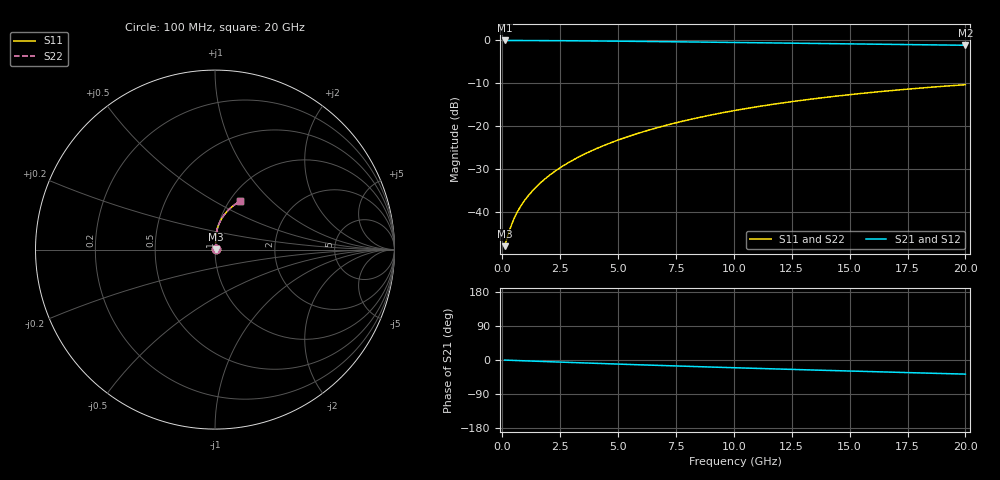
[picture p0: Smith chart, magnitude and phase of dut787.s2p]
! Touchstone file exported from HFSS 2024.1.0
!  File:  C:/UserFiles/LocalFiles/RDL_TSV_Batchsim/temp_RDL_top_787_1779853248.aedt
!  Generated:  11:42:58 AM May 27, 2026
!  Design:  RDL_top
!  Project:  temp_RDL_top_787_1779853248
!  Setup:  Setup1
!  Solution:  Sweep
! Variables:
!  dtsv = 10.80580581um
!  hbump = 3um
!  htsv = 79.98um
!  ldown = 100um
!  lrdl = 542.82um
!  p = 40
!  p1 = 46.4um
!  rhole = 1um
!  t = 450um
!  tdown = 3.915915916um
!  trdl = 2.27um
!  wdown = 15.38538539um
!  wrdl = 25.58um
# GHz S MA R 50.000000
! Terminal data exported
! Port[1] = Box2_T1
! Port[2] = Box2_T2
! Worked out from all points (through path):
!   200 points, 100 MHz to 20 GHz, reference 50 ohm
!   highest |S21| = -0.03 dB at 100 MHz (marker M1); lowest = -1.2 dB at 20 GHz (marker M2)
!   group delay of S21, straight-line fit = 5.13 ps
!   lowest |S11| = -48.1 dB at 100 MHz (marker M3), VSWR 1.01, Z = 50.4 + j0.153 ohm
!   |S11| at or under -10 dB: start of sweep to end of sweep
!   |S22| runs from -48.1 to -10.4 dB; largest |S21 - S12| = 3.7e-15
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0.1  0.003953 22.5  0.9963 -0.2  0.9963 -0.2  0.003953 22.5
! Gamma 0 0 0 0
! Port Impedance 50 0 50 0
0.3  0.005894 48.0  0.996 -0.7  0.996 -0.7  0.005894 48.0
0.4  0.007041 54.3  0.9957 -0.9  0.9957 -0.9  0.007041 54.3
0.6  0.009343 62.0  0.9952 -1.4  0.9952 -1.4  0.009343 62.0
0.7  0.01049 64.7  0.995 -1.6  0.995 -1.6  0.01049 64.7
0.9  0.01278 68.8  0.9946 -2.1  0.9946 -2.1  0.01278 68.8
1.2  0.01628 73.3  0.9939 -2.7  0.9939 -2.7  0.01628 73.3
1.4  0.01866 75.6  0.9934 -3.2  0.9934 -3.2  0.01866 75.6
1.7  0.02233 78.2  0.9926 -3.8  0.9926 -3.8  0.02233 78.2
2.2  0.02864 81.2  0.9911 -4.9  0.9911 -4.9  0.02864 81.2
2.8  0.03656 83.5  0.9888 -6.2  0.9888 -6.2  0.03656 83.5
3.5  0.04625 85.1  0.9857 -7.7  0.9857 -7.7  0.04625 85.1
4.2  0.0564 85.9  0.9821 -9.2  0.9821 -9.2  0.0564 85.9
5  0.06851 86.2  0.9775 -10.8  0.9775 -10.8  0.06852 86.2
5.9  0.08269 85.9  0.972 -12.6  0.972 -12.6  0.0827 85.9
6.8  0.09732 85.2  0.9661 -14.4  0.9661 -14.4  0.09733 85.2
8.4  0.124 83.2  0.9553 -17.5  0.9553 -17.5  0.124 83.2
10.1  0.1527 80.4  0.9435 -20.6  0.9435 -20.6  0.1527 80.4
11.7  0.1793 77.5  0.9323 -23.4  0.9323 -23.4  0.1794 77.6
13.4  0.207 74.4  0.9205 -26.4  0.9205 -26.4  0.207 74.4
16.7  0.2576 68.2  0.8978 -32.0  0.8978 -32.0  0.2577 68.3
20  0.3036 62.4  0.8754 -37.3  0.8754 -37.3  0.3037 62.4
